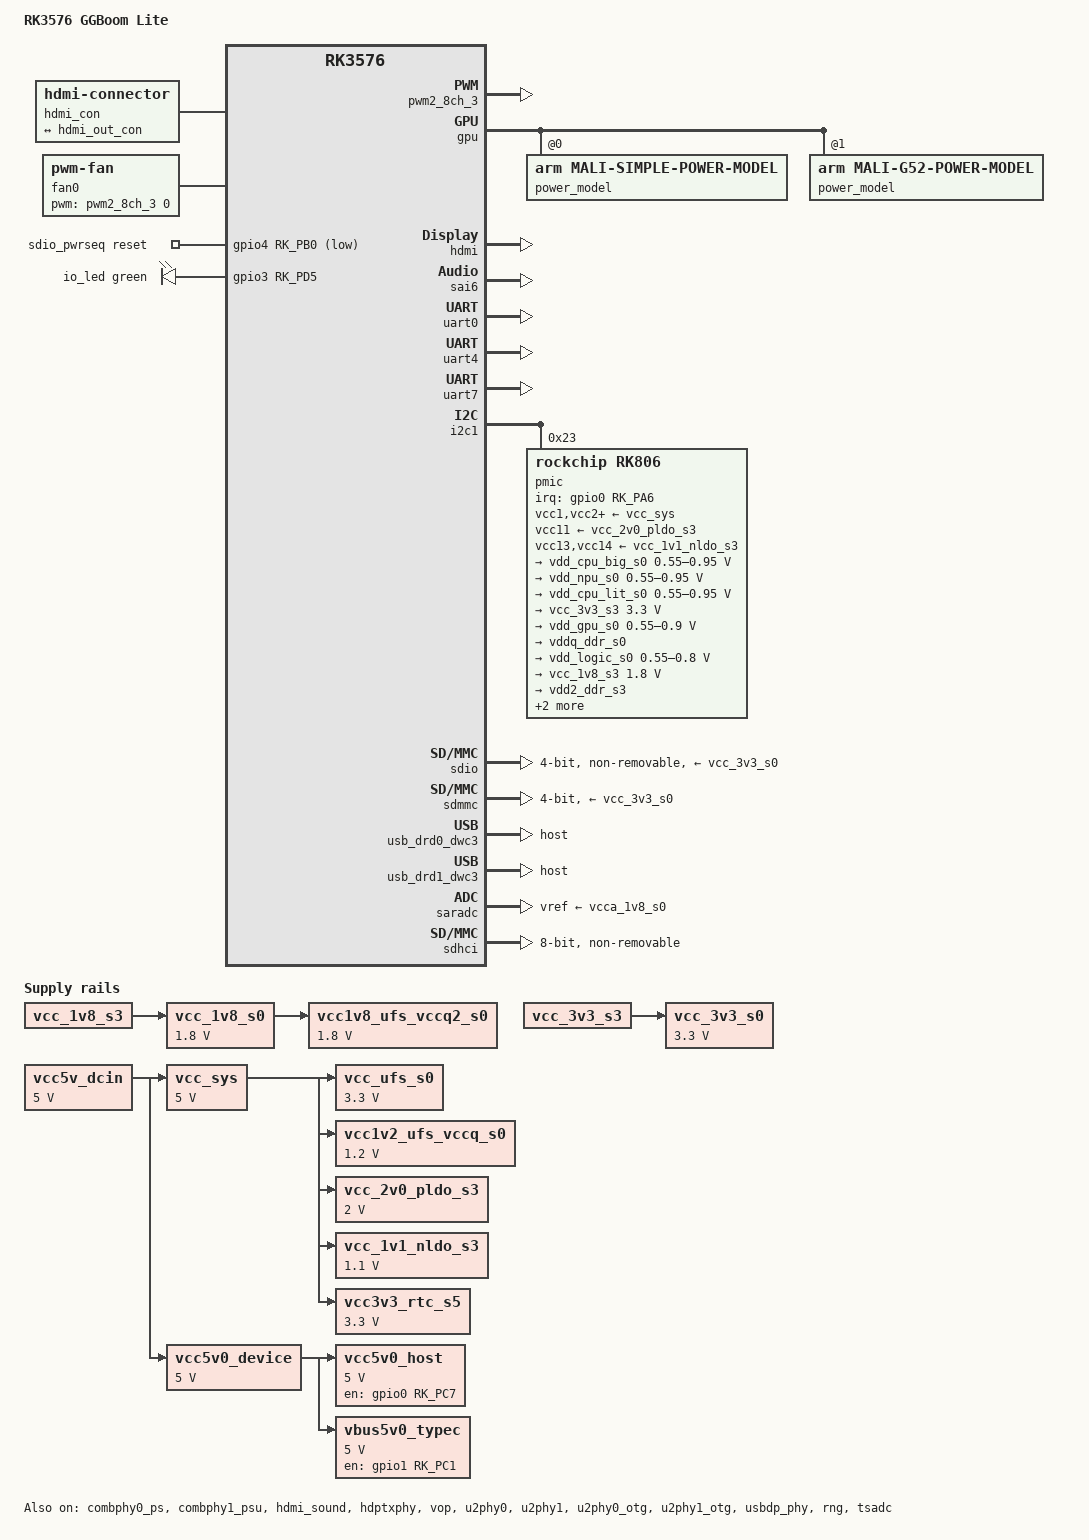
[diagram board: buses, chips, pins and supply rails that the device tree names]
// SPDX-License-Identifier: (GPL-2.0+ OR MIT)
/*
 * Copyright (c) 2024 Rockchip Electronics Co., Ltd.
 * Ported to ROCKNIX mainline (7.0) by rev-code from
 * linux-rockchip-rk35xx-6.1 rk3576-ggboom-zero-mini.dts
 *
 * Slim variant:
 *   - removed the LCD/MIPI-DSI panel chain (panel, dsi, dsi_in/dsi_out,
 *     vp1 endpoint, mipidcphy) plus its companions (backlight,
 *     vcc3v3_lcd_n, pwm0_2ch_0, lcd_pwren/lcd_rst pin groups)
 *   - removed the GT967 touchscreen (i2c2) and its pin groups
 *   - removed the ES8388 audio codec (i2c4) and the simple-audio-card
 *     that consumed it, together with &sai2
 *   - RK806 PMIC (i2c1) is intentionally KEPT: it is the system power
 *     controller and every vdd_ / vcc_ regulator reference hangs off it
 */

/dts-v1/;

#include <dt-bindings/gpio/gpio.h>
#include <dt-bindings/leds/common.h>
#include <dt-bindings/pinctrl/rockchip.h>
#include <dt-bindings/soc/rockchip,vop2.h>
#include <dt-bindings/usb/pd.h>

#include "rk3576.dtsi"

/ {
	model = "RK3576 GGBoom Lite";
	compatible = "rockchip,rk3576-ggboom-zero-mini", "rockchip,rk3576-ggboom-lite", "rockchip,rk3576";

	aliases {
		mmc0 = &sdhci;
		mmc1 = &sdmmc;
		mmc2 = &sdio;
	};

	chosen {
		stdout-path = "serial0:1500000n8";
	};

	reserved-memory {
		#address-cells = <2>;
		#size-cells = <2>;
		ranges;

		linux,cma {
			compatible = "shared-dma-pool";
			reusable;
			size = <0x0 0x10000000>;
			alignment = <0x0 0x400000>;
			linux,cma-default;
		};
	};

	hdmi_con: hdmi-connector {
		compatible = "hdmi-connector";
		type = "c";

		port {
			hdmi_con_in: endpoint {
				remote-endpoint = <&hdmi_out_con>;
			};
		};
	};

	fan0: pwm-fan {
		compatible = "pwm-fan";
		#cooling-cells = <2>;
		cooling-levels = <0 100 125 150 200 255>;
		pwms = <&pwm2_8ch_3 0 60000 0>;
		status = "okay";
	};

	sdio_pwrseq: sdio-pwrseq {
		compatible = "mmc-pwrseq-simple";
		pinctrl-names = "default";
		pinctrl-0 = <&wifi_poweren_gpio>;
		post-power-on-delay-ms = <200>;
		reset-gpios = <&gpio4 RK_PB0 GPIO_ACTIVE_LOW>;
		status = "okay";
	};

	vcc_1v8_s0: vcc-1v8-s0 {
		compatible = "regulator-fixed";
		regulator-name = "vcc_1v8_s0";
		regulator-boot-on;
		regulator-always-on;
		regulator-min-microvolt = <1800000>;
		regulator-max-microvolt = <1800000>;
		vin-supply = <&vcc_1v8_s3>;
	};

	vcc_3v3_s0: vcc-3v3-s0 {
		compatible = "regulator-fixed";
		regulator-name = "vcc_3v3_s0";
		regulator-boot-on;
		regulator-always-on;
		regulator-min-microvolt = <3300000>;
		regulator-max-microvolt = <3300000>;
		vin-supply = <&vcc_3v3_s3>;
	};

	vcc_ufs_s0: vcc-ufs-s0 {
		compatible = "regulator-fixed";
		regulator-name = "vcc_ufs_s0";
		regulator-boot-on;
		regulator-always-on;
		regulator-min-microvolt = <3300000>;
		regulator-max-microvolt = <3300000>;
		vin-supply = <&vcc_sys>;
	};

	vcc1v8_ufs_vccq2_s0: vcc1v8-ufs-vccq2-s0 {
		compatible = "regulator-fixed";
		regulator-name = "vcc1v8_ufs_vccq2_s0";
		regulator-boot-on;
		regulator-always-on;
		regulator-min-microvolt = <1800000>;
		regulator-max-microvolt = <1800000>;
		vin-supply = <&vcc_1v8_s0>;
	};

	vcc1v2_ufs_vccq_s0: vcc1v2-ufs-vccq-s0 {
		compatible = "regulator-fixed";
		regulator-name = "vcc1v2_ufs_vccq_s0";
		regulator-boot-on;
		regulator-always-on;
		regulator-min-microvolt = <1200000>;
		regulator-max-microvolt = <1200000>;
		vin-supply = <&vcc_sys>;
	};

	vcc5v0_host: vcc5v0-host {
		compatible = "regulator-fixed";
		regulator-name = "vcc5v0_host";
		regulator-boot-on;
		regulator-always-on;
		regulator-min-microvolt = <5000000>;
		regulator-max-microvolt = <5000000>;
		enable-active-high;
		gpio = <&gpio0 RK_PC7 GPIO_ACTIVE_HIGH>;
		vin-supply = <&vcc5v0_device>;
		pinctrl-names = "default";
		pinctrl-0 = <&usb_host_pwren>;
	};

	vbus5v0_typec: vbus5v0-typec {
		compatible = "regulator-fixed";
		regulator-name = "vbus5v0_typec";
		regulator-min-microvolt = <5000000>;
		regulator-max-microvolt = <5000000>;
		enable-active-high;
		gpio = <&gpio1 RK_PC1 GPIO_ACTIVE_HIGH>;
		vin-supply = <&vcc5v0_device>;
		pinctrl-names = "default";
		pinctrl-0 = <&usb_otg0_pwren>;
	};

	vcc5v_dcin: vcc5v-dcin {
		compatible = "regulator-fixed";
		regulator-name = "vcc5v_dcin";
		regulator-always-on;
		regulator-boot-on;
		regulator-min-microvolt = <5000000>;
		regulator-max-microvolt = <5000000>;
	};

	vcc_sys: vcc5v0-sys {
		compatible = "regulator-fixed";
		regulator-name = "vcc_sys";
		regulator-always-on;
		regulator-boot-on;
		regulator-min-microvolt = <5000000>;
		regulator-max-microvolt = <5000000>;
		vin-supply = <&vcc5v_dcin>;
	};

	vcc5v0_device: vcc5v0-device {
		compatible = "regulator-fixed";
		regulator-name = "vcc5v0_device";
		regulator-always-on;
		regulator-boot-on;
		regulator-min-microvolt = <5000000>;
		regulator-max-microvolt = <5000000>;
		vin-supply = <&vcc5v_dcin>;
	};

	vcc_2v0_pldo_s3: vcc-2v0-pldo-s3 {
		compatible = "regulator-fixed";
		regulator-name = "vcc_2v0_pldo_s3";
		regulator-boot-on;
		regulator-always-on;
		regulator-min-microvolt = <2000000>;
		regulator-max-microvolt = <2000000>;
		vin-supply = <&vcc_sys>;
	};

	vcc_1v1_nldo_s3: vcc-1v1-nldo-s3 {
		compatible = "regulator-fixed";
		regulator-name = "vcc_1v1_nldo_s3";
		regulator-boot-on;
		regulator-always-on;
		regulator-min-microvolt = <1100000>;
		regulator-max-microvolt = <1100000>;
		vin-supply = <&vcc_sys>;
	};

	vcc3v3_rtc_s5: vcc3v3-rtc-s5 {
		compatible = "regulator-fixed";
		regulator-name = "vcc3v3_rtc_s5";
		regulator-boot-on;
		regulator-always-on;
		regulator-min-microvolt = <3300000>;
		regulator-max-microvolt = <3300000>;
		vin-supply = <&vcc_sys>;
	};

	gpio_leds: leds {
		compatible = "gpio-leds";
		pinctrl-0 = <&io_led_pin>;
		pinctrl-names = "default";

		io_led: led-0 {
			color = <LED_COLOR_ID_GREEN>;
			default-state = "on";
			function = LED_FUNCTION_HEARTBEAT;
			gpios = <&gpio3 RK_PD5 GPIO_ACTIVE_HIGH>;
			linux,default-trigger = "heartbeat";
		};
	};

	/* not defined in mainline rk3576.dtsi yet */
	pwm2_8ch_3: pwm@2ade3000 {
		compatible = "rockchip,rk3576-pwm";
		reg = <0x0 0x2ade3000 0x0 0x1000>;
		interrupts = <GIC_SPI 111 IRQ_TYPE_LEVEL_HIGH>;
		#pwm-cells = <3>;
		pinctrl-names = "default";
		pinctrl-0 = <&pwm2m1_ch3>;
		clocks = <&cru CLK_PWM2>, <&cru PCLK_PWM2>,
			 <&cru CLK_OSC_PWM2>, <&cru CLK_RC_PWM2>;
		clock-names = "pwm", "pclk", "osc", "rc";
		status = "okay";
	};

};

&combphy0_ps {
	status = "okay";
};

&combphy1_psu {
	status = "okay";
};

&cpu_b0 {
	cpu-supply = <&vdd_cpu_big_s0>;
};

&cpu_b1 {
	cpu-supply = <&vdd_cpu_big_s0>;
};

&cpu_b2 {
	cpu-supply = <&vdd_cpu_big_s0>;
};

&cpu_b3 {
	cpu-supply = <&vdd_cpu_big_s0>;
};

&cpu_l0 {
	cpu-supply = <&vdd_cpu_lit_s0>;
};

&cpu_l1 {
	cpu-supply = <&vdd_cpu_lit_s0>;
};

&cpu_l2 {
	cpu-supply = <&vdd_cpu_lit_s0>;
};

&cpu_l3 {
	cpu-supply = <&vdd_cpu_lit_s0>;
};

&gpu {
	mali-supply = <&vdd_gpu_s0>;
	resets = <&cru SRST_GPU>;
	status = "okay";

	power_model@0 {
		compatible = "arm,mali-simple-power-model";
		static-coefficient = <100000>;
		dynamic-coefficient = <953>;
		ts = <(-108890) 63610 (-1355) 20>;
		thermal-zone = "gpu-thermal";
	};
	power_model@1 {
		compatible = "arm,mali-g52-power-model";
		scale = <5>;
	};
};

&hdmi {
	status = "okay";
};

&hdmi_in {
	hdmi_in_vp0: endpoint {
		remote-endpoint = <&vp0_out_hdmi>;
	};
};

&hdmi_out {
	hdmi_out_con: endpoint {
		remote-endpoint = <&hdmi_con_in>;
	};
};

&hdmi_sound {
	status = "okay";
};

&hdptxphy {
	status = "okay";
};

&sai6 {
	status = "okay";
};

&vp0 {
	vp0_out_hdmi: endpoint@ROCKCHIP_VOP2_EP_HDMI0 {
		reg = <ROCKCHIP_VOP2_EP_HDMI0>;
		remote-endpoint = <&hdmi_in_vp0>;
	};
};

&vop {
	status = "okay";
};

&vop_mmu {
	status = "okay";
};

&gmac0 {
	status = "disabled";
};

&gmac1 {
	status = "disabled";
};

&uart0 {
	status = "okay";
};

&uart4 {
	pinctrl-names = "default";
	pinctrl-0 = <&uart4m1_xfer>;
	status = "okay";
};

&uart7 {
	assigned-clocks = <&cru SCLK_UART7>;
	assigned-clock-rates = <24000000>;
	pinctrl-names = "default";
	pinctrl-0 = <&uart7m0_xfer &uart7m0_ctsn &uart7m0_rtsn>;
	status = "okay";
};

&i2c1 {
	status = "okay";

	pmic@23 {
		compatible = "rockchip,rk806";
		reg = <0x23>;
		#gpio-cells = <2>;
		gpio-controller;
		interrupt-parent = <&gpio0>;
		interrupts = <RK_PA6 IRQ_TYPE_LEVEL_LOW>;
		pinctrl-names = "default";
		pinctrl-0 = <&pmic_pins
				 &rk806_dvs1_null
				 &rk806_dvs2_null
				 &rk806_dvs3_null>;
		system-power-controller;
		vcc1-supply = <&vcc_sys>;
		vcc2-supply = <&vcc_sys>;
		vcc3-supply = <&vcc_sys>;
		vcc4-supply = <&vcc_sys>;
		vcc5-supply = <&vcc_sys>;
		vcc6-supply = <&vcc_sys>;
		vcc7-supply = <&vcc_sys>;
		vcc8-supply = <&vcc_sys>;
		vcc9-supply = <&vcc_sys>;
		vcc10-supply = <&vcc_sys>;
		vcc11-supply = <&vcc_2v0_pldo_s3>;
		vcc12-supply = <&vcc_sys>;
		vcc13-supply = <&vcc_1v1_nldo_s3>;
		vcc14-supply = <&vcc_1v1_nldo_s3>;
		vcca-supply = <&vcc_sys>;

		rk806_dvs1_null: dvs1-null-pins {
			pins = "gpio_pwrctrl1";
			function = "pin_fun0";
		};

		rk806_dvs2_null: dvs2-null-pins {
			pins = "gpio_pwrctrl2";
			function = "pin_fun0";
		};

		rk806_dvs3_null: dvs3-null-pins {
			pins = "gpio_pwrctrl3";
			function = "pin_fun0";
		};

		regulators {
			vdd_cpu_big_s0: dcdc-reg1 {
				regulator-always-on;
				regulator-boot-on;
				regulator-min-microvolt = <550000>;
				regulator-max-microvolt = <950000>;
				regulator-name = "vdd_cpu_big_s0";
				regulator-ramp-delay = <12500>;
				regulator-state-mem {
					regulator-off-in-suspend;
				};
			};

			vdd_npu_s0: dcdc-reg2 {
				regulator-boot-on;
				regulator-min-microvolt = <550000>;
				regulator-max-microvolt = <950000>;
				regulator-name = "vdd_npu_s0";
				regulator-ramp-delay = <12500>;
				regulator-state-mem {
					regulator-off-in-suspend;
				};
			};

			vdd_cpu_lit_s0: dcdc-reg3 {
				regulator-always-on;
				regulator-boot-on;
				regulator-min-microvolt = <550000>;
				regulator-max-microvolt = <950000>;
				regulator-name = "vdd_cpu_lit_s0";
				regulator-ramp-delay = <12500>;
				regulator-state-mem {
					regulator-off-in-suspend;
					regulator-suspend-microvolt = <750000>;
				};
			};

			vcc_3v3_s3: dcdc-reg4 {
				regulator-always-on;
				regulator-boot-on;
				regulator-min-microvolt = <3300000>;
				regulator-max-microvolt = <3300000>;
				regulator-name = "vcc_3v3_s3";
				regulator-state-mem {
					regulator-on-in-suspend;
					regulator-suspend-microvolt = <3300000>;
				};
			};

			vdd_gpu_s0: dcdc-reg5 {
				regulator-boot-on;
				regulator-always-on;
				regulator-min-microvolt = <550000>;
				regulator-max-microvolt = <900000>;
				regulator-name = "vdd_gpu_s0";
				regulator-ramp-delay = <12500>;
				regulator-state-mem {
					regulator-off-in-suspend;
				};
			};

			vddq_ddr_s0: dcdc-reg6 {
				regulator-always-on;
				regulator-boot-on;
				regulator-name = "vddq_ddr_s0";
				regulator-state-mem {
					regulator-off-in-suspend;
				};
			};

			vdd_logic_s0: dcdc-reg7 {
				regulator-always-on;
				regulator-boot-on;
				regulator-min-microvolt = <550000>;
				regulator-max-microvolt = <800000>;
				regulator-name = "vdd_logic_s0";
				regulator-state-mem {
					regulator-off-in-suspend;
				};
			};

			vcc_1v8_s3: dcdc-reg8 {
				regulator-always-on;
				regulator-boot-on;
				regulator-min-microvolt = <1800000>;
				regulator-max-microvolt = <1800000>;
				regulator-name = "vcc_1v8_s3";
				regulator-state-mem {
					regulator-on-in-suspend;
					regulator-suspend-microvolt = <1800000>;
				};
			};

			vdd2_ddr_s3: dcdc-reg9 {
				regulator-always-on;
				regulator-boot-on;
				regulator-name = "vdd2_ddr_s3";
				regulator-state-mem {
					regulator-on-in-suspend;
				};
			};

			vdd_ddr_s0: dcdc-reg10 {
				regulator-always-on;
				regulator-boot-on;
				regulator-min-microvolt = <550000>;
				regulator-max-microvolt = <1200000>;
				regulator-name = "vdd_ddr_s0";
				regulator-state-mem {
					regulator-off-in-suspend;
				};
			};

			vcca_1v8_s0: pldo-reg1 {
				regulator-always-on;
				regulator-boot-on;
				regulator-min-microvolt = <1800000>;
				regulator-max-microvolt = <1800000>;
				regulator-name = "vcca_1v8_s0";
				regulator-state-mem {
					regulator-off-in-suspend;
				};
			};

			vcca1v8_pldo2_s0: pldo-reg2 {
				regulator-always-on;
				regulator-boot-on;
				regulator-min-microvolt = <1800000>;
				regulator-max-microvolt = <1800000>;
				regulator-name = "vcca1v8_pldo2_s0";
				regulator-state-mem {
					regulator-off-in-suspend;
				};
			};

			vdda_1v2_s0: pldo-reg3 {
				regulator-always-on;
				regulator-boot-on;
				regulator-min-microvolt = <1200000>;
				regulator-max-microvolt = <1200000>;
				regulator-name = "vdda_1v2_s0";
				regulator-state-mem {
					regulator-off-in-suspend;
				};
			};

			vcca_3v3_s0: pldo-reg4 {
				regulator-always-on;
				regulator-boot-on;
				regulator-min-microvolt = <3300000>;
				regulator-max-microvolt = <3300000>;
				regulator-name = "vcca_3v3_s0";
				regulator-state-mem {
					regulator-off-in-suspend;
				};
			};

			vccio_sd_s0: pldo-reg5 {
				regulator-always-on;
				regulator-boot-on;
				regulator-min-microvolt = <1800000>;
				regulator-max-microvolt = <3300000>;
				regulator-name = "vccio_sd_s0";
				regulator-state-mem {
					regulator-on-in-suspend;
				};
			};

			vcca1v8_pldo6_s3: pldo-reg6 {
				regulator-always-on;
				regulator-boot-on;
				regulator-min-microvolt = <1800000>;
				regulator-max-microvolt = <1800000>;
				regulator-name = "vcca1v8_pldo6_s3";
				regulator-state-mem {
					regulator-on-in-suspend;
					regulator-suspend-microvolt = <1800000>;
				};
			};

			vdd_0v75_s3: nldo-reg1 {
				regulator-always-on;
				regulator-boot-on;
				regulator-min-microvolt = <750000>;
				regulator-max-microvolt = <750000>;
				regulator-name = "vdd_0v75_s3";
				regulator-state-mem {
					regulator-on-in-suspend;
					regulator-suspend-microvolt = <750000>;
				};
			};

			vdda_ddr_pll_s0: nldo-reg2 {
				regulator-always-on;
				regulator-boot-on;
				regulator-min-microvolt = <850000>;
				regulator-max-microvolt = <850000>;
				regulator-name = "vdda_ddr_pll_s0";
				regulator-state-mem {
					regulator-off-in-suspend;
				};
			};

			vdda0v75_hdmi_s0: nldo-reg3 {
				regulator-always-on;
				regulator-boot-on;
				regulator-min-microvolt = <750000>;
				regulator-max-microvolt = <750000>;
				regulator-name = "vdda0v75_hdmi_s0";
				regulator-state-mem {
					regulator-off-in-suspend;
				};
			};

			vdda_0v85_s0: nldo-reg4 {
				regulator-always-on;
				regulator-boot-on;
				regulator-min-microvolt = <850000>;
				regulator-max-microvolt = <850000>;
				regulator-name = "vdda_0v85_s0";
				regulator-state-mem {
					regulator-off-in-suspend;
				};
			};

			vdda_0v75_s0: nldo-reg5 {
				regulator-always-on;
				regulator-boot-on;
				regulator-min-microvolt = <750000>;
				regulator-max-microvolt = <750000>;
				regulator-name = "vdda_0v75_s0";
				regulator-state-mem {
					regulator-off-in-suspend;
				};
			};
		};
	};
};

&pinctrl {
	usb {
		usb_host_pwren: usb-host-pwren {
			rockchip,pins = <0 RK_PC7 RK_FUNC_GPIO &pcfg_pull_none>;
		};

		usb_otg0_pwren: usb-otg0-pwren {
			rockchip,pins = <1 RK_PC1 RK_FUNC_GPIO &pcfg_pull_none>;
		};
	};

	leds {
		io_led_pin: io-led-pin {
			rockchip,pins = <3 RK_PD5 RK_FUNC_GPIO &pcfg_pull_none>;
		};
	};

	wifi {
		wifi_poweren_gpio: wifi-poweren-gpio {
			rockchip,pins = <4 RK_PB0 RK_FUNC_GPIO &pcfg_pull_down>;
		};

		wifi_host_wake_irq: wifi-host-wake-irq {
			rockchip,pins = <2 RK_PD6 RK_FUNC_GPIO &pcfg_pull_down>;
		};
	};

	pcie {
		pcie1_perstn: pcie1-perstn {
			rockchip,pins = <0 RK_PC0 RK_FUNC_GPIO &pcfg_pull_none>;
		};
	};
};

&sdio {
	bus-width = <4>;
	max-frequency = <25000000>;
	supports-sdio;
	no-sd;
	no-mmc;
	disable-wp;
	cap-sd-highspeed;
	cap-sdio-irq;
	keep-power-in-suspend;
	mmc-pwrseq = <&sdio_pwrseq>;
	non-removable;
	pinctrl-names = "default";
	pinctrl-0 = <&sdmmc1m1_bus4 &sdmmc1m1_clk &sdmmc1m1_cmd>;
	vmmc-supply = <&vcc_3v3_s0>;
	vqmmc-supply = <&vcc_3v3_s0>;
	status = "okay";
};

&sdmmc {
	bus-width = <4>;
	max-frequency = <200000000>;
	pinctrl-names = "default";
	pinctrl-0 = <&sdmmc0_clk &sdmmc0_cmd &sdmmc0_det &sdmmc0_bus4>;
	no-sdio;
	no-mmc;
	disable-wp;
	cap-mmc-highspeed;
	cap-sd-highspeed;
	sd-uhs-sdr104;
	vqmmc-supply = <&vccio_sd_s0>;
	vmmc-supply = <&vcc_3v3_s0>;
	status = "okay";
};

&ufshc {
	vcc-supply = <&vcc_ufs_s0>;
	vccq-supply = <&vcc1v2_ufs_vccq_s0>;
	vccq2-supply = <&vcc1v8_ufs_vccq2_s0>;
	reset-gpios = <&gpio4 RK_PD0 GPIO_ACTIVE_HIGH>;
	status = "disabled";
};

&u2phy0 {
	status = "okay";
};

&u2phy1 {
	status = "okay";
};

&u2phy0_otg {
	status = "okay";
};

&u2phy1_otg {
	status = "okay";
};

&usbdp_phy {
	status = "okay";
};

&usb_drd0_dwc3 {
	dr_mode = "host";
	status = "okay";
};

&usb_drd1_dwc3 {
	dr_mode = "host";
	status = "okay";
};

&rng {
	status = "okay";
};

&saradc {
	vref-supply = <&vcca_1v8_s0>;
	status = "okay";
};

&sdhci {
	bus-width = <8>;
	no-sdio;
	no-sd;
	non-removable;
	max-frequency = <200000000>;
	mmc-hs400-1_8v;
	mmc-hs400-enhanced-strobe;
	full-pwr-cycle-in-suspend;
	status = "okay";
};

&tsadc {
	status = "okay";
};

&pcie0 {
	reset-gpios = <&gpio1 RK_PB7 GPIO_ACTIVE_HIGH>;
	status = "disabled";
};

&pcie1 {
	reset-gpios = <&gpio0 RK_PC0 GPIO_ACTIVE_HIGH>;
	vpcie3v3-supply = <&vcc_3v3_s0>;
	pinctrl-names = "default";
	pinctrl-0 = <&pcie1_perstn>;
	status = "disabled";
};
